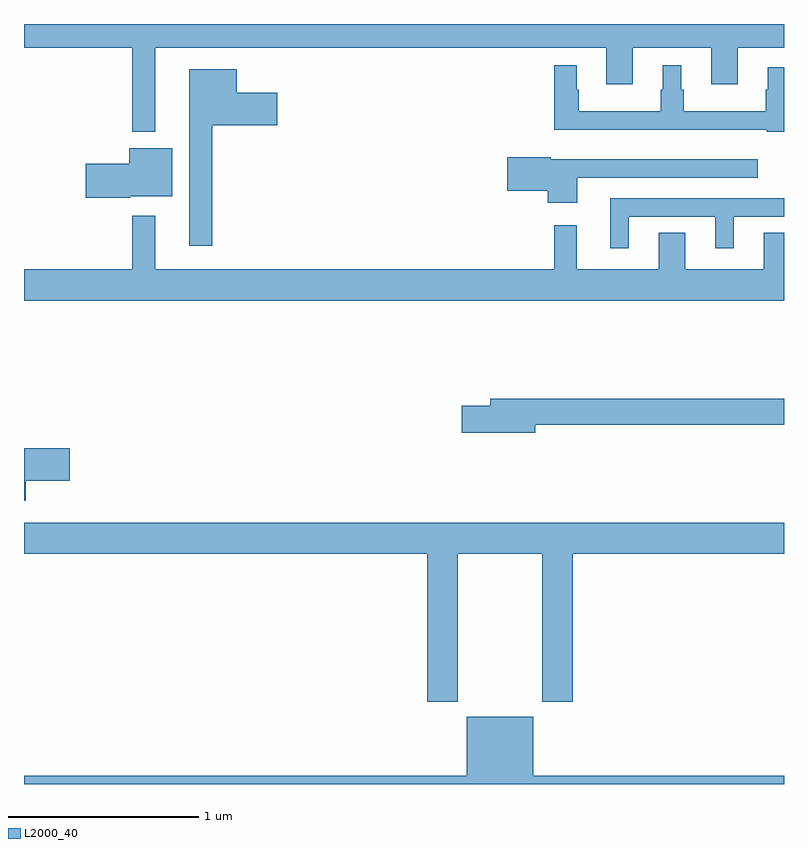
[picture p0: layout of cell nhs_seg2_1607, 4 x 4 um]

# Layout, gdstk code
import gdstk
lib = gdstk.Library(unit=1e-6, precision=1e-09)
def P(c, l, *ps):  # polygons
    for p in ps: c.add(gdstk.Polygon(p, *l))
L2000_40 = (2000, 40)

nhs_seg2_1607 = lib.new_cell('nhs_seg2_1607')
P(nhs_seg2_1607, L2000_40, [(195.691,607.676),(198.065,607.676),(198.065,607.482),(198.205,607.482),(198.205,607.676),(198.617,607.676),(198.617,607.482),(198.757,607.482),(198.757,607.676),(199,607.676),(199,607.8),(195,607.8),(195,607.676),(195.57,607.676),(195.57,607.232),(195.691,607.232)],
  [(199,607.572),(198.914,607.572),(198.914,607.454),(198.903,607.454),(198.903,607.342),(198.472,607.342),(198.472,607.454),(198.46,607.454),(198.46,607.582),(198.362,607.582),(198.362,607.454),(198.351,607.454),(198.351,607.342),(197.92,607.342),(197.92,607.454),(197.908,607.454),(197.908,607.582),(197.791,607.582),(197.791,607.244),(198.908,607.244),(198.908,607.233),(199,607.233)],
  [(195.991,607.268),(196.333,607.268),(196.333,607.438),(196.12,607.438),(196.12,607.561),(195.869,607.561),(195.869,606.633),(195.991,606.633)],
  [(195.558,606.893),(195.781,606.893),(195.781,607.147),(195.554,607.147),(195.554,607.064),(195.324,607.064),(195.324,606.886),(195.558,606.886)],
  [(197.911,606.99),(198.862,606.99),(198.862,607.087),(197.772,607.087),(197.772,607.1),(197.544,607.1),(197.544,606.922),(197.756,606.922),(197.756,606.858),(197.911,606.858)],
  [(198.184,606.786),(198.638,606.786),(198.638,606.621),(198.736,606.621),(198.736,606.786),(199,606.786),(199,606.882),(198.086,606.882),(198.086,606.621),(198.184,606.621)],
  [(195.57,606.79),(195.57,606.508),(195,606.508),(195,606.344),(199,606.344),(199,606.701),(198.893,606.701),(198.893,606.508),(198.481,606.508),(198.481,606.701),(198.341,606.701),(198.341,606.508),(197.909,606.508),(197.909,606.742),(197.791,606.742),(197.791,606.508),(195.691,606.508),(195.691,606.79)],
  [(197.692,605.692),(199,605.692),(199,605.828),(197.453,605.828),(197.453,605.792),(197.304,605.792),(197.304,605.65),(197.692,605.65)],
  [(195.01,605.396),(195.241,605.396),(195.241,605.567),(195,605.567),(195,605.291),(195.01,605.291)],
  [(197.283,605.012),(197.728,605.012),(197.728,604.233),(197.888,604.233),(197.888,605.012),(199,605.012),(199,605.176),(195,605.176),(195,605.012),(197.123,605.012),(197.123,604.233),(197.283,604.233)],
  [(195,603.8),(199,603.8),(199,603.844),(197.68,603.844),(197.68,604.153),(197.33,604.153),(197.33,603.844),(195,603.844)])

lib.write_gds('nhs_seg2_1607.gds')
